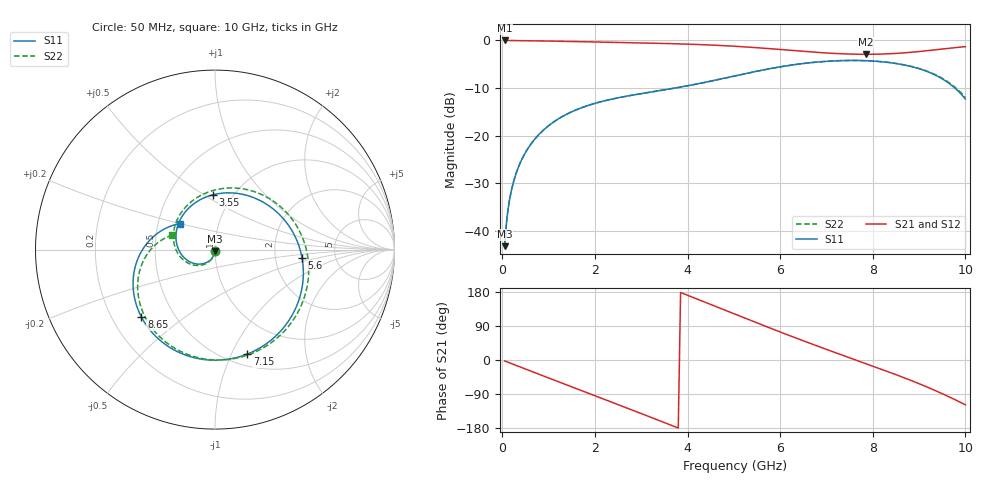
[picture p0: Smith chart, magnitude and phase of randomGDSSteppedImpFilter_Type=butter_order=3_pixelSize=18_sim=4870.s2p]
! freq	dB(S11)	phase(S11)	dB(S12)	phase(S12)
!  dB(S21)	phase(S21)	dB(S22)	phase(S22)
!S-par simulation data
#  GHz  S  DB  R 50
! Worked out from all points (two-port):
!   200 points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, 50 MHz to 10 GHz, reference 50 ohm
!   highest |S21| = 0.00 dB at 50 MHz (marker M1); lowest = -2.9 dB at 7.85 GHz (marker M2)
!   |S21| within 3 dB of the highest: start of sweep to end of sweep
!   lowest |S11| = -43.2 dB at 50 MHz (marker M3), VSWR 1.01, Z = 50 - j0.69 ohm
!   |S11| at or under -10 dB: start of sweep to 3.724 GHz; 9.772 GHz to end of sweep
!   |S22| runs from -43.2 to -4.2 dB; largest |S21 - S12| = 0
!   S11 on the Smith chart (normalised r, x): 50 MHz: 1.00, -0.01; 3.55 GHz: 0.81, +0.55; 5.6 GHz: 2.85, -0.33; 7.15 GHz: 0.62, -1.15; 8.65 GHz: 0.32, -0.35; 10 GHz: 0.65, +0.20
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0.05  -43.21 -91.5  -0.00 -2.4  -0.00 -2.4  -43.21 -91.3
0.1  -37.27 -94.3  -0.01 -4.8  -0.01 -4.8  -37.27 -93.9
0.2  -31.33 -99.9  -0.02 -9.6  -0.02 -9.6  -31.33 -98.9
0.5  -23.54 -115.5  -0.05 -23.8  -0.05 -23.8  -23.53 -113.2
1.15  -16.86 -148.1  -0.15 -54.5  -0.15 -54.5  -16.86 -142.6
1.75  -13.99 -178.0  -0.27 -82.6  -0.27 -82.6  -14.00 -169.2
2.5  -12.05 144.6  -0.42 -117.7  -0.42 -117.7  -12.06 157.7
2.95  -11.25 122.1  -0.51 -138.9  -0.51 -138.9  -11.27 137.8
3.4  -10.53 99.6  -0.61 -160.3  -0.61 -160.3  -10.56 117.4
3.55  -10.29 92.2  -0.65 -167.5  -0.65 -167.5  -10.32 110.5
4.25  -9.04 57.9  -0.86 158.8  -0.86 158.8  -9.08 77.4
5.05  -7.38 20.0  -1.24 119.8  -1.24 119.8  -7.41 38.1
5.6  -6.26 -5.2  -1.60 93.1  -1.60 93.1  -6.28 10.8
6.15  -5.31 -29.9  -2.02 66.9  -2.02 66.9  -5.32 -16.1
6.7  -4.63 -53.8  -2.44 41.5  -2.44 41.5  -4.64 -42.1
7.15  -4.30 -72.9  -2.72 21.3  -2.72 21.3  -4.31 -62.7
7.85  -4.26 -102.4  -2.91 -9.5  -2.91 -9.5  -4.25 -93.9
8.35  -4.64 -124.0  -2.80 -31.8  -2.80 -31.8  -4.62 -116.1
8.65  -5.10 -137.6  -2.63 -45.6  -2.63 -45.6  -5.07 -129.8
9.05  -6.09 -157.0  -2.28 -65.0  -2.28 -65.0  -6.03 -148.8
9.45  -7.79 -179.0  -1.85 -86.1  -1.85 -86.1  -7.67 -169.1
10  -12.29 143.3  -1.31 -118.3  -1.31 -118.3  -11.97 161.5
